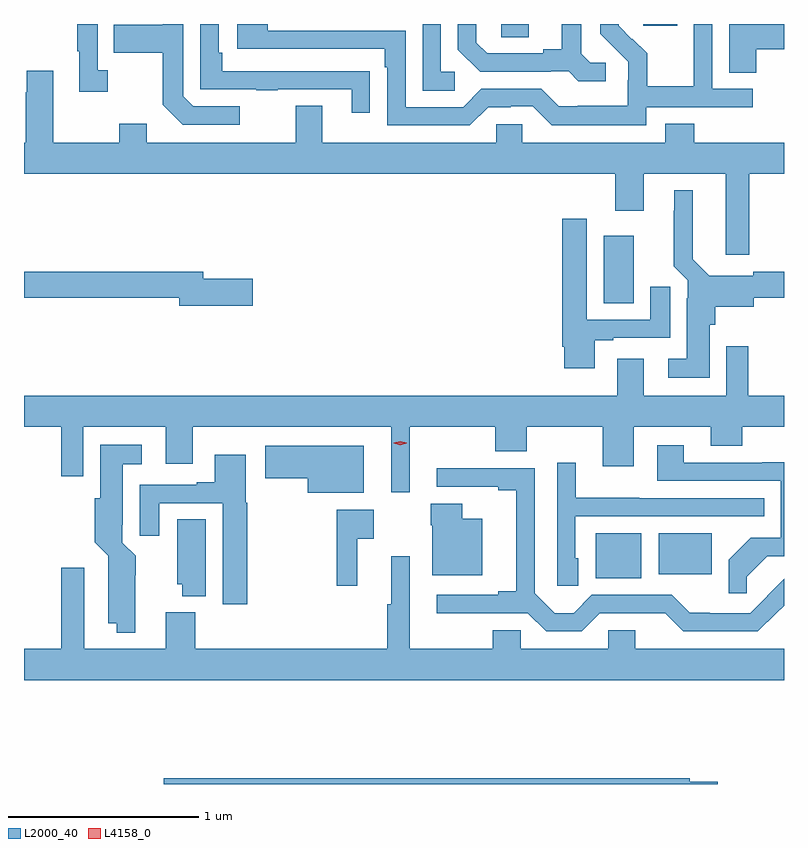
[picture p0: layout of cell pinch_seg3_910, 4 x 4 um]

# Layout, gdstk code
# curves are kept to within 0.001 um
import gdstk
lib = gdstk.Library(unit=1e-6, precision=1e-09)
def R(c, l, rs):  # rectangles x0, y0, x1, y1
    for r in rs: c.add(gdstk.rectangle(r[:2], r[2:], *l))
def P(c, l, *ps):  # polygons
    for p in ps: c.add(gdstk.Polygon(p, *l))
L2000_40 = (2000, 40)
L4158_0 = (4158, 0)

pinch_seg3_910 = lib.new_cell('pinch_seg3_910')
R(pinch_seg3_910, L2000_40, [(774.041,685.469,774.28,685.705), (774.374,685.49,774.652,685.705), (774.083,686.914,774.241,687.271), (773.544,688.315,773.689,688.385), (774.29,688.377,774.469,688.385)])
P(pinch_seg3_910, L2000_40, [(774.306,687.948),(774.868,687.948),(774.868,688.044),(774.654,688.044),(774.654,688.385),(774.558,688.385),(774.558,688.28),(774.556,688.28),(774.556,688.057),(774.311,688.057),(774.311,688.231),(774.234,688.308),(774.231,688.305),(774.161,688.376),(774.161,688.385),(774.066,688.385),(774.066,688.334),(774.212,688.186),(774.212,688.089),(774.21,688.089),(774.21,687.955),(773.947,687.955),(773.947,687.951),(773.847,687.951),(773.754,688.044),(773.439,688.044),(773.343,687.948),(773.04,687.948),(773.04,688.35),(772.316,688.35),(772.316,688.384),(772.155,688.384),(772.155,688.254),(772.931,688.254),(772.931,688.157),(772.944,688.157),(772.944,687.852),(773.379,687.852),(773.475,687.948),(773.594,687.948),(773.594,687.951),(773.709,687.951),(773.809,687.851),(774.306,687.851)],
  [(773.299,688.134),(773.226,688.134),(773.226,688.385),(773.13,688.385),(773.13,688.033),(773.299,688.033)],
  [(774.094,688.182),(774.012,688.182),(773.965,688.229),(773.965,688.385),(773.861,688.385),(773.861,688.253),(773.765,688.253),(773.765,688.23),(773.47,688.23),(773.413,688.287),(773.413,688.385),(773.316,688.385),(773.316,688.25),(773.432,688.134),(773.804,688.134),(773.804,688.137),(773.898,688.137),(773.95,688.085),(774.094,688.085)],
  [(772.853,688.136),(772.751,688.136),(772.751,688.137),(772.076,688.137),(772.076,688.234),(772.056,688.234),(772.056,688.385),(771.96,688.385),(771.96,688.041),(772.255,688.041),(772.255,688.036),(772.367,688.036),(772.367,688.041),(772.757,688.041),(772.757,687.918),(772.853,687.918)],
  [(772.168,687.951),(771.924,687.951),(771.87,688.005),(771.87,688.385),(771.762,688.385),(771.762,688.381),(771.505,688.381),(771.505,688.234),(771.762,688.234),(771.762,687.961),(771.867,687.855),(772.168,687.855)],
  [(774.887,688.253),(775.032,688.253),(775.032,688.385),(774.743,688.385),(774.743,688.129),(774.887,688.129)],
  [(771.472,688.142),(771.42,688.142),(771.42,688.385),(771.312,688.385),(771.312,688.241),(771.323,688.241),(771.323,688.029),(771.472,688.029)],
  [(774.848,687.596),(775.032,687.596),(775.032,687.76),(774.56,687.76),(774.56,687.859),(774.407,687.859),(774.407,687.76),(773.655,687.76),(773.655,687.858),(773.517,687.858),(773.517,687.76),(772.603,687.76),(772.603,687.955),(772.463,687.955),(772.463,687.76),(771.679,687.76),(771.679,687.859),(771.532,687.859),(771.532,687.76),(771.187,687.76),(771.187,688.138),(771.047,688.138),(771.047,688.025),(771.04,688.025),(771.04,687.76),(771.032,687.76),(771.032,687.596),(774.143,687.596),(774.143,687.402),(774.295,687.402),(774.295,687.596),(774.725,687.596),(774.725,687.171),(774.848,687.171)],
  [(774.64,686.802),(774.671,686.802),(774.671,686.897),(774.874,686.897),(774.874,686.944),(775.032,686.944),(775.032,687.08),(774.87,687.08),(774.87,687.061),(774.639,687.061),(774.553,687.148),(774.553,687.511),(774.455,687.511),(774.455,687.401),(774.452,687.401),(774.452,687.109),(774.525,687.036),(774.525,686.942),(774.521,686.942),(774.521,686.623),(774.423,686.623),(774.423,686.522),(774.64,686.522)],
  [(774.037,686.721),(774.133,686.721),(774.133,686.733),(774.433,686.733),(774.433,687.001),(774.329,687.001),(774.329,686.829),(773.995,686.829),(773.995,687.361),(773.864,687.361),(773.864,686.686),(773.876,686.686),(773.876,686.574),(774.037,686.574)],
  [(772.237,687.044),(771.976,687.044),(771.976,687.08),(771.032,687.08),(771.032,686.944),(771.848,686.944),(771.848,686.902),(772.237,686.902)],
  [(773.062,686.264),(773.513,686.264),(773.513,686.136),(773.677,686.136),(773.677,686.264),(774.077,686.264),(774.077,686.058),(774.241,686.058),(774.241,686.264),(774.647,686.264),(774.647,686.165),(774.811,686.165),(774.811,686.264),(775.032,686.264),(775.032,686.428),(774.845,686.428),(774.845,686.689),(774.729,686.689),(774.729,686.428),(774.295,686.428),(774.295,686.623),(774.155,686.623),(774.155,686.428),(771.032,686.428),(771.032,686.264),(771.229,686.264),(771.229,686.004),(771.345,686.004),(771.345,686.264),(771.779,686.264),(771.779,686.07),(771.919,686.07),(771.919,686.264),(772.964,686.264),(772.964,685.92),(773.062,685.92)],
  [(771.618,685.484),(771.619,685.586),(771.549,685.656),(771.549,685.75),(771.553,685.75),(771.553,686.069),(771.652,686.069),(771.652,686.17),(771.434,686.17),(771.434,685.89),(771.404,685.89),(771.404,685.658),(771.476,685.586),(771.476,685.232),(771.521,685.232),(771.521,685.181),(771.618,685.181)],
  [(774.836,685.476),(774.944,685.584),(775.032,685.584),(775.032,686.078),(774.917,686.078),(774.917,686.076),(774.505,686.076),(774.505,686.167),(774.365,686.167),(774.365,685.98),(775.014,685.98),(775.014,685.68),(774.857,685.68),(774.741,685.564),(774.741,685.389),(774.836,685.389)],
  [(772.819,686.164),(772.302,686.164),(772.302,685.994),(772.526,685.994),(772.526,685.919),(772.819,685.919)],
  [(772.206,685.866),(772.198,685.866),(772.198,686.119),(772.037,686.119),(772.037,685.972),(771.941,685.972),(771.941,685.959),(771.641,685.959),(771.641,685.692),(771.745,685.692),(771.745,685.863),(772.079,685.863),(772.079,685.332),(772.206,685.332)],
  [(773.95,685.572),(773.934,685.572),(773.934,685.794),(774.929,685.794),(774.929,685.89),(774.269,685.89),(774.269,685.891),(773.935,685.891),(773.935,686.077),(773.838,686.077),(773.838,685.429),(773.95,685.429)],
  [(774.063,685.284),(774.407,685.283),(774.501,685.188),(774.895,685.188),(775.032,685.323),(775.032,685.465),(774.943,685.376),(774.945,685.374),(774.855,685.284),(774.64,685.284),(774.64,685.286),(774.536,685.286),(774.441,685.38),(774.021,685.38),(773.926,685.285),(773.825,685.285),(773.721,685.389),(773.721,686.046),(773.417,686.046),(773.417,686.048),(773.205,686.048),(773.205,685.95),(773.528,685.95),(773.528,685.93),(773.624,685.93),(773.624,685.4),(773.528,685.4),(773.528,685.38),(773.205,685.38),(773.205,685.283),(773.684,685.284),(773.78,685.188),(773.967,685.188)],
  [(773.443,685.78),(773.338,685.78),(773.338,685.861),(773.173,685.861),(773.173,685.748),(773.18,685.748),(773.18,685.484),(773.443,685.484)],
  [(772.787,685.676),(772.873,685.676),(772.873,685.828),(772.677,685.828),(772.677,685.428),(772.787,685.428)],
  [(771.988,685.778),(771.839,685.778),(771.839,685.437),(771.866,685.437),(771.866,685.373),(771.988,685.373)],
  [(775.032,685.096),(774.25,685.096),(774.25,685.194),(774.108,685.194),(774.108,685.096),(773.646,685.096),(773.646,685.194),(773.5,685.194),(773.5,685.096),(773.062,685.096),(773.062,685.585),(772.964,685.585),(772.964,685.332),(772.945,685.332),(772.945,685.096),(771.932,685.096),(771.932,685.288),(771.779,685.288),(771.779,685.096),(771.349,685.096),(771.349,685.522),(771.227,685.522),(771.227,685.096),(771.032,685.096),(771.032,684.932),(775.032,684.932)],
  [(774.683,684.396),(774.536,684.396),(774.536,684.416),(771.767,684.416),(771.767,684.385),(774.683,684.385)])
P(pinch_seg3_910, L4158_0, [(773.012,686.169),(772.977,686.179),(772.977,686.179),(772.977,686.18),(773.012,686.189),(773.047,686.18),(773.047,686.179),(773.047,686.179)])

lib.write_gds('pinch_seg3_910.gds')
